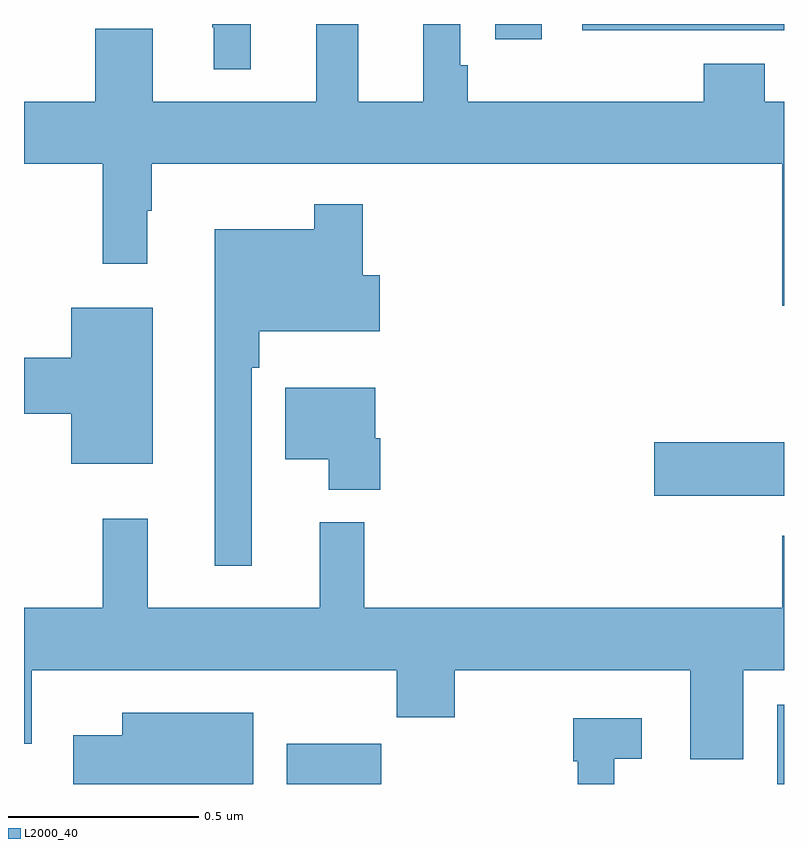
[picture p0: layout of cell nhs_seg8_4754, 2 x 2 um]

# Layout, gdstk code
import gdstk
lib = gdstk.Library(unit=1e-6, precision=1e-09)
def R(c, l, rs):  # rectangles x0, y0, x1, y1
    for r in rs: c.add(gdstk.rectangle(r[:2], r[2:], *l))
def P(c, l, *ps):  # polygons
    for p in ps: c.add(gdstk.Polygon(p, *l))
L2000_40 = (2000, 40)

nhs_seg8_4754 = lib.new_cell('nhs_seg8_4754')
R(nhs_seg8_4754, L2000_40, [(175.691,1082.9,175.94,1083.006), (176.982,1082.9,177,1083.108), (176.658,1083.658,177,1083.8), (176.24,1084.86,176.362,1084.9)])
P(nhs_seg8_4754, L2000_40, [(177,1084.696),(176.949,1084.696),(176.949,1084.795),(176.789,1084.795),(176.789,1084.696),(176.168,1084.696),(176.168,1084.792),(176.148,1084.792),(176.148,1084.9),(176.051,1084.9),(176.051,1084.696),(175.879,1084.696),(175.879,1084.9),(175.769,1084.9),(175.769,1084.696),(175.339,1084.696),(175.339,1084.888),(175.187,1084.888),(175.187,1084.696),(175,1084.696),(175,1084.532),(175.207,1084.532),(175.207,1084.269),(175.324,1084.269),(175.324,1084.409),(175.336,1084.409),(175.336,1084.532),(176.996,1084.532),(176.996,1084.158),(177,1084.158)],
  [(176.705,1084.884),(177,1084.884),(177,1084.9),(176.469,1084.9),(176.469,1084.883),(176.705,1084.883)],
  [(175.597,1084.9),(175.495,1084.9),(175.495,1084.891),(175.499,1084.891),(175.499,1084.781),(175.597,1084.781)],
  [(175.599,1083.995),(175.619,1083.995),(175.619,1084.091),(175.936,1084.091),(175.936,1084.239),(175.892,1084.239),(175.892,1084.426),(175.764,1084.426),(175.764,1084.36),(175.502,1084.36),(175.502,1083.474),(175.599,1083.474)],
  [(175.339,1084.153),(175.124,1084.153),(175.124,1084.022),(175,1084.022),(175,1083.875),(175.124,1083.875),(175.124,1083.743),(175.339,1083.743)],
  [(175.937,1083.81),(175.924,1083.81),(175.924,1083.943),(175.688,1083.943),(175.688,1083.755),(175.802,1083.755),(175.802,1083.674),(175.937,1083.674)],
  [(176.893,1083.2),(177,1083.2),(177,1083.553),(176.996,1083.553),(176.996,1083.364),(175.895,1083.364),(175.895,1083.589),(175.778,1083.589),(175.778,1083.364),(175.325,1083.364),(175.325,1083.598),(175.207,1083.598),(175.207,1083.364),(175,1083.364),(175,1083.006),(175.021,1083.006),(175.021,1083.2),(175.981,1083.2),(175.981,1083.076),(176.133,1083.076),(176.133,1083.2),(176.753,1083.2),(176.753,1082.965),(176.893,1082.965)],
  [(175.603,1083.088),(175.259,1083.088),(175.259,1083.028),(175.13,1083.028),(175.13,1082.9),(175.603,1082.9)],
  [(176.553,1082.967),(176.626,1082.967),(176.626,1083.073),(176.445,1083.073),(176.445,1082.96),(176.457,1082.96),(176.457,1082.9),(176.553,1082.9)])

lib.write_gds('nhs_seg8_4754.gds')
